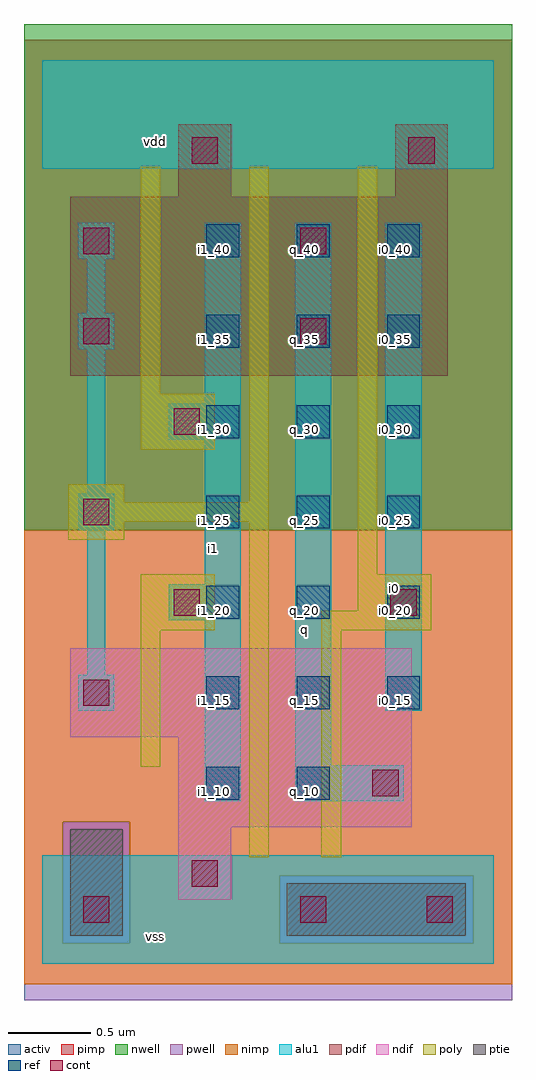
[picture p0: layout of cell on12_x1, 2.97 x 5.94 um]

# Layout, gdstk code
import gdstk
lib = gdstk.Library(unit=1e-6, precision=2.5e-09)
def R(c, l, rs):  # rectangles x0, y0, x1, y1
    for r in rs: c.add(gdstk.rectangle(r[:2], r[2:], *l))
def A(c, l, x, y, w, h, nx, ny, dx, dy):  # array of equal rectangles
    R(c, l, [(x+i*dx, y+j*dy, x+i*dx+w, y+j*dy+h) for i in range(nx) for j in range(ny)])
ndif = (3, 0)
pdif = (4, 0)
ptie = (6, 0)
ref = (24, 0)
cont = (25, 0)
pwell = (41, 0)
nwell = (42, 0)
activ = (43, 0)
pimp = (44, 0)
nimp = (45, 0)
poly = (46, 0)
alu1 = (49, 0)

on12_x1 = lib.new_cell('on12_x1')
R(on12_x1, ndif, [(0.83,0.39,1.15,0.83), (0.83,0.39,1.15,0.83), (0.83,0.83,2.25,1.38), (0.83,0.83,2.25,1.38), (0.17,1.38,2.25,1.92), (0.17,1.38,2.25,1.92)])
R(on12_x1, pdif, [(0.17,3.58,2.47,4.67), (0.17,3.58,2.47,4.67), (0.83,4.67,1.15,5.11), (0.83,4.67,1.15,5.11), (2.15,4.67,2.47,5.11), (2.15,4.67,2.47,5.11)])
R(on12_x1, ptie, [(0.17,0.17,0.49,0.82), (0.17,0.17,0.49,0.82), (1.49,0.17,2.58,0.49), (1.49,0.17,2.58,0.49)])
A(on12_x1, ref, 1, 1.55, 0.2, 0.2, 3, 6, 0.55, 0.55)
R(on12_x1, ref, [(1,1,1.2,1.2), (1.55,1,1.75,1.2)])
A(on12_x1, cont, 0.25, 1.57, 0.16, 0.16, 1, 3, 0, 1.1)
R(on12_x1, cont, [(0.25,0.25,0.41,0.41), (1.57,0.25,1.73,0.41), (2.34,0.25,2.5,0.41), (0.91,0.47,1.07,0.63), (2.01,1.02,2.17,1.18), (0.8,2.12,0.96,2.28), (2.12,2.12,2.28,2.28), (0.8,3.22,0.96,3.38), (1.57,3.77,1.73,3.93), (0.25,4.32,0.41,4.48), (1.57,4.32,1.73,4.48), (0.91,4.87,1.07,5.03), (2.23,4.87,2.39,5.03)])
R(on12_x1, pwell, [(-0.11,-0.22,2.86,2.64)])
R(on12_x1, nwell, [(-0.11,2.64,2.86,5.72)])
R(on12_x1, activ, [(0.17,0.17,0.49,0.82), (0.17,0.17,0.49,0.82), (1.49,0.17,2.58,0.49), (1.49,0.17,2.58,0.49), (0.83,0.39,1.15,0.83), (0.83,0.39,1.15,0.83), (0.83,0.83,2.25,1.38), (0.83,0.83,2.25,1.38), (0.17,1.38,2.25,1.92), (0.17,1.38,2.25,1.92), (0.17,3.58,2.47,4.67), (0.17,3.58,2.47,4.67), (0.83,4.67,1.15,5.11), (0.83,4.67,1.15,5.11), (2.15,4.67,2.47,5.11), (2.15,4.67,2.47,5.11)])
R(on12_x1, pimp, [(0.125,0.125,0.535,0.865), (1.445,0.125,2.625,0.535), (-0.11,2.64,2.86,5.625)])
R(on12_x1, nimp, [(-0.11,-0.125,2.86,0.125), (-0.11,0.125,0.125,0.865), (0.535,0.125,1.445,0.535), (2.625,0.125,2.86,0.535), (0.535,0.535,2.86,0.865), (-0.11,0.865,2.86,2.64)])
R(on12_x1, poly, [(1.26,0.65,1.38,2.69), (1.7,0.65,1.82,2.03), (0.6,1.2,0.72,2.03), (0.6,2.03,1.05,2.37), (1.7,2.03,2.37,2.15), (1.92,2.15,2.37,2.37), (1.92,2.37,2.04,4.85), (0.16,2.58,0.5,2.69), (0.16,2.69,1.38,2.81), (0.16,2.81,0.5,2.92), (1.26,2.81,1.38,4.85), (0.6,3.13,1.05,3.47), (0.6,3.47,0.72,4.85)])
A(on12_x1, alu1, 0.22, 1.54, 0.22, 0.22, 1, 3, 0, 1.1)
R(on12_x1, alu1, [(0,0,2.75,0.66), (0.99,0.99,1.21,2.09), (1.54,0.99,2.2,1.21), (1.54,1.21,1.76,4.51), (2.09,1.54,2.31,4.51), (0.275,1.76,0.385,2.64), (0.77,2.09,1.21,2.31), (0.99,2.31,1.21,3.19), (0.275,2.86,0.385,3.74), (0.77,3.19,1.21,3.41), (0.99,3.41,1.21,4.51), (0.275,3.96,0.385,4.29), (0.22,4.29,0.44,4.51), (0,4.84,2.75,5.5)])
on12_x1.add(gdstk.Label('vss', (0.6875,0.165), layer=49, texttype=0))
on12_x1.add(gdstk.Label('i0', (2.145,2.2825), layer=49, texttype=0))
on12_x1.add(gdstk.Label('q', (1.595,2.035), layer=49, texttype=0))
on12_x1.add(gdstk.Label('i1', (1.045,2.53), layer=49, texttype=0))
on12_x1.add(gdstk.Label('vdd', (0.6875,5.005), layer=49, texttype=0))
on12_x1.add(gdstk.Label('i0_40', (2.15,4.35), layer=24, texttype=0))
on12_x1.add(gdstk.Label('q_40', (1.6,4.35), layer=24, texttype=0))
on12_x1.add(gdstk.Label('q_35', (1.6,3.8), layer=24, texttype=0))
on12_x1.add(gdstk.Label('q_30', (1.6,3.25), layer=24, texttype=0))
on12_x1.add(gdstk.Label('q_25', (1.6,2.7), layer=24, texttype=0))
on12_x1.add(gdstk.Label('q_20', (1.6,2.15), layer=24, texttype=0))
on12_x1.add(gdstk.Label('q_15', (1.6,1.6), layer=24, texttype=0))
on12_x1.add(gdstk.Label('i1_20', (1.05,2.15), layer=24, texttype=0))
on12_x1.add(gdstk.Label('i1_15', (1.05,1.6), layer=24, texttype=0))
on12_x1.add(gdstk.Label('i0_15', (2.15,1.6), layer=24, texttype=0))
on12_x1.add(gdstk.Label('i0_20', (2.15,2.15), layer=24, texttype=0))
on12_x1.add(gdstk.Label('i0_25', (2.15,2.7), layer=24, texttype=0))
on12_x1.add(gdstk.Label('i0_30', (2.15,3.25), layer=24, texttype=0))
on12_x1.add(gdstk.Label('i0_35', (2.15,3.8), layer=24, texttype=0))
on12_x1.add(gdstk.Label('i1_40', (1.05,4.35), layer=24, texttype=0))
on12_x1.add(gdstk.Label('i1_35', (1.05,3.8), layer=24, texttype=0))
on12_x1.add(gdstk.Label('i1_30', (1.05,3.25), layer=24, texttype=0))
on12_x1.add(gdstk.Label('i1_25', (1.05,2.7), layer=24, texttype=0))
on12_x1.add(gdstk.Label('i1_10', (1.05,1.05), layer=24, texttype=0))
on12_x1.add(gdstk.Label('q_10', (1.6,1.05), layer=24, texttype=0))

lib.write_gds('on12_x1.gds')
